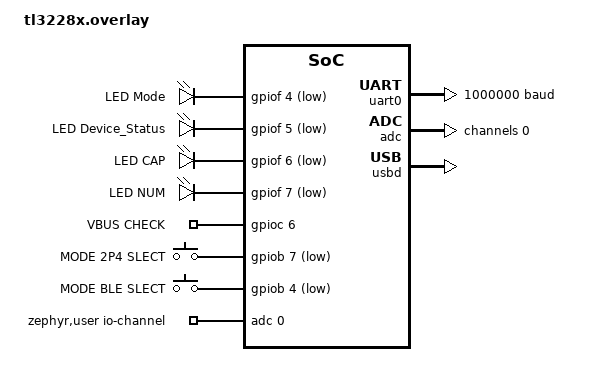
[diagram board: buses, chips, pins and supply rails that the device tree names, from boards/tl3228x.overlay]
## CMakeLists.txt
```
# SPDX-License-Identifier: Apache-2.0

cmake_minimum_required(VERSION 3.20.0)
find_package(Zephyr REQUIRED HINTS $ENV{ZEPHYR_BASE})
project(peripheral_magnetic_keyboard)

FILE(GLOB app_sources src/*.c)
target_sources(app PRIVATE ${app_sources})

if(CONFIG_BOARD_TL3228X_RRAM)
	zephyr_compile_definitions(
		-DMCU_STARTUP_NVM=1
        -DAPP_NVM_PROTECTION_ENABLE=1
	)
endif()
```

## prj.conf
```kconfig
# Increased stack due to settings API usage
CONFIG_SYSTEM_WORKQUEUE_STACK_SIZE=2048

CONFIG_BT=y
#CONFIG_BT_DEBUG_LOG=n
CONFIG_BT_SMP=y
CONFIG_BT_SMP_ALLOW_UNAUTH_OVERWRITE=y
CONFIG_BT_ID_ALLOW_UNAUTH_OVERWRITE=y
CONFIG_BT_MAX_PAIRED=4
CONFIG_BT_PERIPHERAL=y
CONFIG_BT_DIS=y
CONFIG_BT_BAS=y
CONFIG_BT_DEVICE_NAME="Test kb"
#CONFIG_BT_DEVICE_NAME_DYNAMIC=y
CONFIG_BT_HCI_CORE_LOG_LEVEL_DBG=n

CONFIG_BT_SETTINGS=y
CONFIG_FLASH=y
CONFIG_FLASH_PAGE_LAYOUT=y
CONFIG_FLASH_MAP=y
CONFIG_NVS=y
CONFIG_SETTINGS=y

CONFIG_GPIO=y

CONFIG_PM=y
CONFIG_PM_DEVICE=n
CONFIG_TELINK_TL322X_ENABLE_N22=y
CONFIG_SAMPLE_BT_USE_AUTHENTICATION=n
CONFIG_BT_ID_MAX=4
CONFIG_BT_MAX_CONN=4
CONFIG_BT_SETTINGS=y
CONFIG_BT_ID_UNPAIR_MATCHING_BONDS=y

CONFIG_BT_ID_FOR_KMD=y

# USB device support (new UDC stack)
CONFIG_USB_DEVICE_STACK_NEXT=y
CONFIG_USBD_HID_SUPPORT=y
CONFIG_UDC_TELINK_TLX_HIGH_SPEED=y

CONFIG_ENTROPY_GENERATOR=y
CONFIG_ENTROPY_DEVICE_RANDOM_GENERATOR=y

#CONFIG_RISCV_MTVEC_VECTORED_MODE=y
CONFIG_OUTPUT_DISASSEMBLY=y
CONFIG_OUTPUT_DISASSEMBLY_WITH_SOURCE=y

CONFIG_EXT_CRYPTO_HW_INIT=y

CONFIG_LOG=n
CONFIG_USBD_LOG_LEVEL_DBG=n
CONFIG_USBD_HID_LOG_LEVEL_DBG=n
CONFIG_UDC_DRIVER_LOG_LEVEL_DBG=n
CONFIG_USB_DRIVER_LOG_LEVEL_DBG=n
CONFIG_USB_DEVICE_LOG_LEVEL_DBG=n

CONFIG_FLASH=y
CONFIG_FLASH_PAGE_LAYOUT=y
CONFIG_NVS=y
CONFIG_REBOOT=y 

CONFIG_ADC=y
```

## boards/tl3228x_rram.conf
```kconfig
CONFIG_TELINK_TL322X_FETCH_N22_BIN=n
```

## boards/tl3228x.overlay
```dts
&cpu0 {
	clock-frequency = <192000000>;		/* USB0 digital voltage must be 1.1V and HCLK min's 48M */
	// clock-frequency = <96000000>;
};

&uart0 {
	status = "okay";
	pinctrl-0 = <&uart0_tx_pd4_default &uart0_rx_pd5_default>;
	current-speed = <1000000>;			/* Baud rate for serial port logging */
};

&ram_ilm {
	reg = <0x00000000 0x00020000>;
};

&ram_dlm {
	reg = <0x00080000 0x00010000>;
};

&n22_ram_ilm {
	reg = <0x50000000 0x00020000>;
};

&n22_ram_dlm {
	reg = <0x50080000 0x00010000>;
};


&gpioa {
       status = "okay";
};


/ {

	aliases {

		/delete-property/ led0;
		/delete-property/ led1;
		/delete-property/ led2;
		/delete-property/ led3;

		/delete-property/ mcuboot-button0;
		/delete-property/ mcuboot-led0;

		/delete-property/ sw0;
		/delete-property/ sw1;
		/delete-property/ sw2;
		/delete-property/ sw3;

		/delete-property/ pwm-led0;
		/delete-property/ pwm0;

		ledmode = &led_mode;
		leddevicestatus = &led_device_status;
		ledcap = &led_cap;
		lednum = &led_num;

		vbuscheck0 = &vbus_pin;
		mode2p4 = &mode_2p4_pin;
		modeble = &mode_ble_pin;

	};

	/delete-node/ leds;
	/delete-node/ pwm_leds;

	leds {
		compatible = "gpio-leds";

		led_mode: mode_io {
			gpios = <&gpiof 4 GPIO_ACTIVE_LOW>;
			label = "LED Mode";
		};

		led_device_status: device_status_io {
			gpios = <&gpiof 5 GPIO_ACTIVE_LOW>;
			label = "LED Device_Status";
		};

		led_cap: cap_io {
			gpios = <&gpiof 6 GPIO_ACTIVE_LOW>;
			label = "LED CAP";
		};

		led_num: num_io {
			gpios = <&gpiof 7 GPIO_ACTIVE_LOW>;
			label = "LED NUM";
		};
	};

	/delete-node/ keys;

	keys {
		compatible = "gpio-keys";

		vbus_pin: vbus_io {
			gpios = <&gpioc 6 (GPIO_ACTIVE_HIGH)>;
			label = "VBUS CHECK";
		};

		mode_2p4_pin: mode_2p4_io {
			gpios = <&gpiob 7 (GPIO_ACTIVE_LOW)>;
			label = "MODE 2P4 SLECT";
		};
		mode_ble_pin: mode_ble_io {
			gpios = <&gpiob 4 (GPIO_ACTIVE_LOW)>;
			label = "MODE BLE SLECT";
		};
	};

	/delete-node/ key_pool;
	/delete-node/ led_pool;
	/delete-node/ pwm_pool;

	zephyr,user {
		/* adjust channel number according to pinmux in board.dts */
		io-channels = <&adc 0>;
	};
};

&adc {
	#address-cells = <1>;
	#size-cells = <0>;

	channel@0 {
		reg = <0>;
		zephyr,gain = "ADC_GAIN_1";
		zephyr,reference = "ADC_REF_INTERNAL";
		zephyr,acquisition-time = <ADC_ACQ_TIME_DEFAULT>;
		zephyr,resolution = <12>;
		zephyr,input-positive = <DT_ADC_GPIO_PC0>;
	};
};

&adc {
	status = "okay";
	vref-internal-mv = <1200>;
	sample-freq = <DT_FREQ_K(96)>;
	pinctrl-0 = <&adc_pc0_default>;
	pinctrl-names = "default";
};

&flash {
	reg = <0x20000000 0x100000>;
	/delete-node/ partitions;

	partitions {
		compatible = "fixed-partitions";
		#address-cells = <1>;
		#size-cells = <1>;

		/*boot_partition: 32k*/
		boot_partition: partition@0 {
			label = "mcuboot";
			reg = <0x00000000 0x8000>;
		};
		/*D25F APP 1 partition: 256k*/
		slot0_partition: partition@8000 {
			label = "image-0";
			reg = <0x8000 0x40000>;
		};
		/*N22 APP 1 partition: 128k*/
		n22_1_partition: partition@48000 {
			label = "image-1";
			reg = <0x48000 0x20000>;
		};
		/*D25F APP 2 partition: 256k*/
		slot1_partition: partition@68000 {
			label = "image-2";
			reg = <0x68000 0x40000>;
		};
		/*N22 APP 2 partition: 128k*/
		n22_2_partition: partition@A8000 {
			label = "image-3";
			reg = <0xA8000 0x20000>;
		};

		user_app_partition: partition@C8000 {
			label = "app-storage";
			reg = <0xC8000 0x00002000>;
		};

		/*BLE SMP storage partition*/
		storage_partition: partition@CA000 {
			label = "storage";
			reg = <0xCA000 0x00002000>;
		};

		/* region <0xfe000 0x2000> is used for Telink TLx RF parameters */
		/* For 1M MCU - the partition address is 0xfe000 */
		/* For 2M MCU - the partition address is 0x1fe000 */
		/* For 4M MCU - the partition address is 0x3fe000 */
		/* For 16M MCU - the partition address is 0xffe000 */
		vendor_partition: partition@fe000 {
			label = "vendor-data";
			reg = <0xfe000 0x2000>;
		};
	};
};

&pinctrl {
	/* Set pad-mul-sel register value.
	 * Note: Pins functions below (pinmux = <...>) depend on this value.
	 */
	pad-mul-sel = <1>;

	/* UART0: TX(PA0), RX(PA1), RTS(PB4), CTS(PB6) */

	/delete-node/ uart0_tx_pa0_default;
	/delete-node/ uart0_rx_pa1_default;

	uart0_tx_pd4_default: uart0_tx_pd4_default {
		pinmux = <TLX_PINMUX_SET(TLX_PORT_D, TLX_PIN_4,
			(TL322X_FUNC_UART0_TX))>;
	};
	uart0_rx_pd5_default: uart0_rx_pd5_default {
		pinmux = <TLX_PINMUX_SET(TLX_PORT_D, TLX_PIN_5,
			(TL322X_FUNC_UART0_RTX_IO))>;
	};
};

&pwm0 {
	status = "disabled";
};

&gspi {
	status = "disabled";
};

&i2c {
	status = "disabled";
	clock-frequency = <I2C_BITRATE_FAST>;
	pinctrl-0 = <&i2c_scl_pe0_default &i2c_sda_pe1_default>;
	pinctrl-names = "default";
};

&adc {
	status = "okay";
	vref-internal-mv = <1200>;
	sample-freq = <DT_FREQ_K(96)>;
	pinctrl-0 = <&adc_pc0_default>;
	pinctrl-names = "default";
};

/* USB device support (new UDC stack) */
&usbd {
	status = "okay";
};

/ {
	/* HID_0: standard keyboard (8-byte input report + LED output report) */
	hid_dev_0: hid_dev_0 {
		compatible = "zephyr,hid-device";
		interface-name = "HID0";
		protocol-code = "keyboard";
		in-report-size = <8>;
		in-polling-period-us = <1000>;
		out-report-size = <1>;
		out-polling-period-us = <1000>;
	};

	/* HID_1: N-key keyboard (17-byte input report) */
	hid_dev_1: hid_dev_1 {
		compatible = "zephyr,hid-device";
		interface-name = "HID1";
		protocol-code = "none";
		in-report-size = <17>;
		in-polling-period-us = <1000>;
	};

	/* HID_2: vendor defined, 5-button mouse style (4-byte input report) */
	hid_dev_2: hid_dev_2 {
		compatible = "zephyr,hid-device";
		interface-name = "HID2";
		protocol-code = "none";
		in-report-size = <4>;
		in-polling-period-us = <1000>;
	};
};
```

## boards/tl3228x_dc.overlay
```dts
&cpu0 {
	clock-frequency = <192000000>;		/* USB0 digital voltage must be 1.1V and HCLK min's 48M */
	// clock-frequency = <96000000>;
};

&uart0 {
	status = "okay";
	pinctrl-0 = <&uart0_tx_pd4_default &uart0_rx_pd5_default>;
	current-speed = <1000000>;			/* Baud rate for serial port logging */
};

&ram_ilm {
	reg = <0x00000000 0x00020000>;
};

&ram_dlm {
	reg = <0x00080000 0x00010000>;
};


&gpioa {
       status = "okay";
};


/ {

	aliases {

		/delete-property/ led0;
		/delete-property/ led1;
		/delete-property/ led2;
		/delete-property/ led3;

		/delete-property/ mcuboot-button0;
		/delete-property/ mcuboot-led0;

		/delete-property/ sw0;
		/delete-property/ sw1;
		/delete-property/ sw2;
		/delete-property/ sw3;

		/delete-property/ pwm-led0;
		/delete-property/ pwm0;

		ledmode = &led_mode;
		leddevicestatus = &led_device_status;
		ledcap = &led_cap;
		lednum = &led_num;

		vbuscheck0 = &vbus_pin;
		mode2p4 = &mode_2p4_pin;
		modeble = &mode_ble_pin;

	};

	/delete-node/ leds;
	/delete-node/ pwm_leds;

	leds {
		compatible = "gpio-leds";

		led_mode: mode_io {
			gpios = <&gpiof 4 GPIO_ACTIVE_LOW>;
			label = "LED Mode";
		};

		led_device_status: device_status_io {
			gpios = <&gpiof 5 GPIO_ACTIVE_LOW>;
			label = "LED Device_Status";
		};

		led_cap: cap_io {
			gpios = <&gpiof 6 GPIO_ACTIVE_LOW>;
			label = "LED CAP";
		};

		led_num: num_io {
			gpios = <&gpiof 7 GPIO_ACTIVE_LOW>;
			label = "LED NUM";
		};
	};

	/delete-node/ keys;

	keys {
		compatible = "gpio-keys";

		vbus_pin: vbus_io {
			gpios = <&gpioc 6 (GPIO_ACTIVE_HIGH)>;
			label = "VBUS CHECK";
		};

		mode_2p4_pin: mode_2p4_io {
			gpios = <&gpiob 7 (GPIO_ACTIVE_LOW)>;
			label = "MODE 2P4 SLECT";
		};
		mode_ble_pin: mode_ble_io {
			gpios = <&gpiob 4 (GPIO_ACTIVE_LOW)>;
			label = "MODE BLE SLECT";
		};
	};

	/delete-node/ key_pool;
	/delete-node/ led_pool;
	/delete-node/ pwm_pool;

	zephyr,user {
		/* adjust channel number according to pinmux in board.dts */
		io-channels = <&adc 0>;
	};
};

&adc {
	#address-cells = <1>;
	#size-cells = <0>;

	channel@0 {
		reg = <0>;
		zephyr,gain = "ADC_GAIN_1";
		zephyr,reference = "ADC_REF_INTERNAL";
		zephyr,acquisition-time = <ADC_ACQ_TIME_DEFAULT>;
		zephyr,resolution = <12>;
		zephyr,input-positive = <DT_ADC_GPIO_PC0>;
	};
};

&adc {
	status = "okay";
	vref-internal-mv = <1200>;
	sample-freq = <DT_FREQ_K(96)>;
	pinctrl-0 = <&adc_pc0_default>;
	pinctrl-names = "default";
};

&flash {
	reg = <0x20000000 0x100000>;
	/delete-node/ partitions;

	partitions {
		compatible = "fixed-partitions";
		#address-cells = <1>;
		#size-cells = <1>;

		/*boot_partition: 32k*/
		boot_partition: partition@0 {
			label = "mcuboot";
			reg = <0x00000000 0x8000>;
		};
		/*D25F APP 1 partition: 256k*/
		slot0_partition: partition@8000 {
			label = "image-0";
			reg = <0x8000 0x40000>;
		};
		/*N22 APP 1 partition: 128k*/
		n22_1_partition: partition@48000 {
			label = "image-1";
			reg = <0x48000 0x20000>;
		};
		/*D25F APP 2 partition: 256k*/
		slot1_partition: partition@68000 {
			label = "image-2";
			reg = <0x68000 0x40000>;
		};
		/*N22 APP 2 partition: 128k*/
		n22_2_partition: partition@A8000 {
			label = "image-3";
			reg = <0xA8000 0x20000>;
		};

		user_app_partition: partition@C8000 {
			label = "app-storage";
			reg = <0xC8000 0x00002000>;
		};

		/*BLE SMP storage partition*/
		storage_partition: partition@CA000 {
			label = "storage";
			reg = <0xCA000 0x00002000>;
		};

		/* region <0xfe000 0x2000> is used for Telink TLx RF parameters */
		/* For 1M MCU - the partition address is 0xfe000 */
		/* For 2M MCU - the partition address is 0x1fe000 */
		/* For 4M MCU - the partition address is 0x3fe000 */
		/* For 16M MCU - the partition address is 0xffe000 */
		vendor_partition: partition@fe000 {
			label = "vendor-data";
			reg = <0xfe000 0x2000>;
		};
	};
};

&pinctrl {
	/* Set pad-mul-sel register value.
	 * Note: Pins functions below (pinmux = <...>) depend on this value.
	 */
	pad-mul-sel = <1>;

	/* UART0: TX(PA0), RX(PA1), RTS(PB4), CTS(PB6) */

	/delete-node/ uart0_tx_pa0_default;
	/delete-node/ uart0_rx_pa1_default;

	uart0_tx_pd4_default: uart0_tx_pd4_default {
		pinmux = <TLX_PINMUX_SET(TLX_PORT_D, TLX_PIN_4,
			(TL322X_FUNC_UART0_TX))>;
	};
	uart0_rx_pd5_default: uart0_rx_pd5_default {
		pinmux = <TLX_PINMUX_SET(TLX_PORT_D, TLX_PIN_5,
			(TL322X_FUNC_UART0_RTX_IO))>;
	};
};

&pwm0 {
	status = "disabled";
};

&gspi {
	status = "disabled";
};

&i2c {
	status = "disabled";
	clock-frequency = <I2C_BITRATE_FAST>;
	pinctrl-0 = <&i2c_scl_pe0_default &i2c_sda_pe1_default>;
	pinctrl-names = "default";
};

&adc {
	status = "okay";
	vref-internal-mv = <1200>;
	sample-freq = <DT_FREQ_K(96)>;
	pinctrl-0 = <&adc_pc0_default>;
	pinctrl-names = "default";
};

/* USB device support (new UDC stack) */
&usbd {
	status = "okay";
};

/ {
	/* HID_0: standard keyboard (8-byte input report + LED output report) */
	hid_dev_0: hid_dev_0 {
		compatible = "zephyr,hid-device";
		interface-name = "HID0";
		protocol-code = "keyboard";
		in-report-size = <8>;
		in-polling-period-us = <1000>;
		out-report-size = <1>;
		out-polling-period-us = <1000>;
	};

	/* HID_1: N-key keyboard (17-byte input report) */
	hid_dev_1: hid_dev_1 {
		compatible = "zephyr,hid-device";
		interface-name = "HID1";
		protocol-code = "none";
		in-report-size = <17>;
		in-polling-period-us = <1000>;
	};

	/* HID_2: vendor defined, 5-button mouse style (4-byte input report) */
	hid_dev_2: hid_dev_2 {
		compatible = "zephyr,hid-device";
		interface-name = "HID2";
		protocol-code = "none";
		in-report-size = <4>;
		in-polling-period-us = <1000>;
	};
};
```

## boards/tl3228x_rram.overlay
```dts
&cpu0 {
	clock-frequency = <192000000>;		/* USB0 digital voltage must be 1.1V and HCLK min's 48M */
	// clock-frequency = <96000000>;
};

&uart0 {
	status = "okay";
	pinctrl-0 = <&uart0_tx_pd4_default &uart0_rx_pd5_default>;
	current-speed = <1000000>;			/* Baud rate for serial port logging */
};

&ram_ilm {
	reg = <0x00000000 0x00020000>;
};

&ram_dlm {
	reg = <0x00080000 0x00010000>;
};

&n22_ram_ilm {
	reg = <0x50000000 0x00020000>;
};

&n22_ram_dlm {
	reg = <0x50080000 0x00010000>;
};


&gpioa {
       status = "okay";
};


/ {

	aliases {

		/delete-property/ led0;
		/delete-property/ led1;
		/delete-property/ led2;
		/delete-property/ led3;

		/delete-property/ mcuboot-button0;
		/delete-property/ mcuboot-led0;

		/delete-property/ sw0;
		/delete-property/ sw1;
		/delete-property/ sw2;
		/delete-property/ sw3;

		/delete-property/ pwm-led0;
		/delete-property/ pwm0;

		ledmode = &led_mode;
		leddevicestatus = &led_device_status;
		ledcap = &led_cap;
		lednum = &led_num;

		vbuscheck0 = &vbus_pin;
		mode2p4 = &mode_2p4_pin;
		modeble = &mode_ble_pin;

	};

	/delete-node/ leds;
	/delete-node/ pwm_leds;

	leds {
		compatible = "gpio-leds";

		led_mode: mode_io {
			gpios = <&gpiof 4 GPIO_ACTIVE_LOW>;
			label = "LED Mode";
		};

		led_device_status: device_status_io {
			gpios = <&gpiof 5 GPIO_ACTIVE_LOW>;
			label = "LED Device_Status";
		};

		led_cap: cap_io {
			gpios = <&gpiof 6 GPIO_ACTIVE_LOW>;
			label = "LED CAP";
		};

		led_num: num_io {
			gpios = <&gpiof 7 GPIO_ACTIVE_LOW>;
			label = "LED NUM";
		};
	};

	/delete-node/ keys;

	keys {
		compatible = "gpio-keys";

		vbus_pin: vbus_io {
			gpios = <&gpioc 6 (GPIO_ACTIVE_HIGH)>;
			label = "VBUS CHECK";
		};

		mode_2p4_pin: mode_2p4_io {
			gpios = <&gpiob 7 (GPIO_ACTIVE_LOW)>;
			label = "MODE 2P4 SLECT";
		};
		mode_ble_pin: mode_ble_io {
			gpios = <&gpiob 4 (GPIO_ACTIVE_LOW)>;
			label = "MODE BLE SLECT";
		};
	};

	/delete-node/ key_pool;
	/delete-node/ led_pool;
	/delete-node/ pwm_pool;

	zephyr,user {
		/* adjust channel number according to pinmux in board.dts */
		io-channels = <&adc 0>;
	};
};

&adc {
	#address-cells = <1>;
	#size-cells = <0>;

	channel@0 {
		reg = <0>;
		zephyr,gain = "ADC_GAIN_1";
		zephyr,reference = "ADC_REF_INTERNAL";
		zephyr,acquisition-time = <ADC_ACQ_TIME_DEFAULT>;
		zephyr,resolution = <12>;
		zephyr,input-positive = <DT_ADC_GPIO_PC0>;
	};
};

&adc {
	status = "okay";
	vref-internal-mv = <1200>;
	sample-freq = <DT_FREQ_K(96)>;
	pinctrl-0 = <&adc_pc0_default>;
	pinctrl-names = "default";
};

/*
 * RRAM partition layout (512KB total):
 *   boot_partition:    0x00000 - 0x07FFF  (32KB)  MCUBoot
 *   slot0_partition:   0x08000 - 0x47FFF  (256KB) D25F application (code)
 *   n22_partition:     0x48000 - 0x67FFF  (128KB) N22 firmware image
 *   user_app_partition:0x68000 - 0x77FFF  (64KB)  NVS user data
 *   storage_partition: 0x78000 - 0x79FFF  (8KB)   BLE settings (bonding info)
 *   vendor_partition:  0x7E000 - 0x7FFFF  (8KB)   Telink RF calibration data
 *
 * External SPI flash is available for OTA bulk storage (no DT partitions).
 */
&rram {
	reg = <0x00400000 0x00080000>;
	/delete-node/ partitions;

	partitions {
		compatible = "fixed-partitions";
		#address-cells = <1>;
		#size-cells = <1>;

		/* MCUBoot */
		boot_partition: partition@0 {
			label = "mcuboot";
			reg = <0x00000000 0x8000>;
		};
		/* D25F application image */
		slot0_partition: partition@8000 {
			label = "image-0";
			reg = <0x8000 0x40000>;
		};
		/* N22 firmware image */
		n22_partition: partition@48000 {
			label = "n22-image";
			reg = <0x48000 0x20000>;
		};
		/* NVS user application data */
		user_app_partition: partition@68000 {
			label = "app-storage";
			reg = <0x68000 0x10000>;
		};
		/* BLE settings / bonding info */
		storage_partition: partition@78000 {
			label = "storage";
			reg = <0x78000 0x2000>;
		};
		/* Telink RF calibration parameters */
		vendor_partition: partition@7e000 {
			label = "vendor-data";
			reg = <0x7e000 0x2000>;
		};
	};
};

/*
 * External SPI flash: not used for code or NVS in this build.
 * Keep it available as a raw block device for OTA storage.
 */
&flash {
	/delete-node/ partitions;
};

/*
 * Override chosen: point code-partition to the overlay's slot0 on &rram.
 * The board dts already sets zephyr,flash = &rram.
 */
/ {
	chosen {
		zephyr,code-partition = &slot0_partition;
	};
};

&pinctrl {
	/* Set pad-mul-sel register value.
	 * Note: Pins functions below (pinmux = <...>) depend on this value.
	 */
	pad-mul-sel = <1>;

	/* UART0: TX(PA0), RX(PA1), RTS(PB4), CTS(PB6) */

	/delete-node/ uart0_tx_pa0_default;
	/delete-node/ uart0_rx_pa1_default;

	uart0_tx_pd4_default: uart0_tx_pd4_default {
		pinmux = <TLX_PINMUX_SET(TLX_PORT_D, TLX_PIN_4,
			(TL322X_FUNC_UART0_TX))>;
	};
	uart0_rx_pd5_default: uart0_rx_pd5_default {
		pinmux = <TLX_PINMUX_SET(TLX_PORT_D, TLX_PIN_5,
			(TL322X_FUNC_UART0_RTX_IO))>;
	};
};

&pwm0 {
	status = "disabled";
};

&gspi {
	status = "disabled";
};

&i2c {
	status = "disabled";
	clock-frequency = <I2C_BITRATE_FAST>;
	pinctrl-0 = <&i2c_scl_pe0_default &i2c_sda_pe1_default>;
	pinctrl-names = "default";
};

&adc {
	status = "okay";
	vref-internal-mv = <1200>;
	sample-freq = <DT_FREQ_K(96)>;
	pinctrl-0 = <&adc_pc0_default>;
	pinctrl-names = "default";
};

/* USB device support (new UDC stack) */
&usbd {
	status = "okay";
};

/ {
	/* HID_0: standard keyboard (8-byte input report + LED output report) */
	hid_dev_0: hid_dev_0 {
		compatible = "zephyr,hid-device";
		interface-name = "HID0";
		protocol-code = "keyboard";
		in-report-size = <8>;
		in-polling-period-us = <1000>;
		out-report-size = <1>;
		out-polling-period-us = <1000>;
	};

	/* HID_1: N-key keyboard (17-byte input report) */
	hid_dev_1: hid_dev_1 {
		compatible = "zephyr,hid-device";
		interface-name = "HID1";
		protocol-code = "none";
		in-report-size = <17>;
		in-polling-period-us = <1000>;
	};

	/* HID_2: vendor defined, 5-button mouse style (4-byte input report) */
	hid_dev_2: hid_dev_2 {
		compatible = "zephyr,hid-device";
		interface-name = "HID2";
		protocol-code = "none";
		in-report-size = <4>;
		in-polling-period-us = <1000>;
	};
};
```

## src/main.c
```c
/* main.c - Application main entry point */

/*
 * Copyright (c) 2025 Telink Semiconductor
 *
 * SPDX-License-Identifier: Apache-2.0
 */

#include <zephyr/types.h>
#include <stddef.h>
#include <string.h>
#include <errno.h>
#include <zephyr/sys/printk.h>
#include <zephyr/sys/byteorder.h>
#include <zephyr/kernel.h>

#include <zephyr/settings/settings.h>

#include <zephyr/bluetooth/bluetooth.h>
#include <zephyr/bluetooth/hci.h>
#include <zephyr/bluetooth/conn.h>
#include <zephyr/bluetooth/uuid.h>
#include <zephyr/bluetooth/gatt.h>

#include "app_public.h"
#include "driver.h"

#define LOG_LEVEL LOG_LEVEL_DBG
#include <zephyr/logging/log.h>
LOG_MODULE_REGISTER(main);

/*
 * Override the weak SOC hook to configure the LPC + PEM + DMA based flash
 * protection used when running at CLK_192MHZ on TL322X.
 */
void tl322x_pem_flash_prot_config(void)
{
	lpc_pem_flash_prot_config(LPC_INPUT_PB5, PEM0, DMA7);
}

int main(void)
{
	keyboard_comm_init();

	gpio_function_en(GPIO_PD5 | GPIO_PD6 | GPIO_PD7);
	gpio_output_en(GPIO_PD5 | GPIO_PD6 | GPIO_PD7);
	gpio_input_dis(GPIO_PD5 | GPIO_PD6 | GPIO_PD7);


    gpio_function_en(GPIO_PA1 | GPIO_PA2);
    gpio_output_en(GPIO_PA1 | GPIO_PA2);
    gpio_input_dis(GPIO_PA1 | GPIO_PA2);


	while(1) {
		public_loop();
		k_sleep(K_MSEC(3));
	}

	return 0;
}
```

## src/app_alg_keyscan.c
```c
/** @file app_alg_keyscan.c
 *  @brief
 */

/*
 * Copyright (c) 2025 Telink Semiconductor
 *
 * SPDX-License-Identifier: Apache-2.0
 */

#include <zephyr/types.h>
#include <stddef.h>
#include <string.h>
#include <errno.h>
#include <zephyr/sys/printk.h>
#include <zephyr/sys/byteorder.h>
#include <zephyr/kernel.h>

#include <zephyr/settings/settings.h>

#include "app_public.h"
#include "pwm.h"
#include "app_alg_keyscan.h"

#define LOG_LEVEL LOG_LEVEL_DBG
#include <zephyr/logging/log.h>
LOG_MODULE_REGISTER(app_alg_keyscan);


#if ALG_KEYSCAN_APP_FUN_ENABLE

#define BUFFER_SIZE (256) //the minimum buffer size (unit:byte), adc data format 16bits

#define  KEYSCAN_CYCLE_US       44

#define KEYSCAN_ADC_BUFFER_SIZE (BUFFER_SIZE / 2)
short adc_buffer[KEYSCAN_ADC_BUFFER_SIZE] = {0};
static bool g_keyscan_enable = false;

/* update threshold according to the real hall value */
ks_ana_threshold_t ks_ana_threshold = {
    .release_threshold = 1200,       //1F2
    .press_threshold = 1000
    // .release_threshold = 850,       //1F2
    // .press_threshold = 780
};

/* update gpio pin according to the hardware design */
ks_ana_gpio_pin_t ks_ana_gpio_pin = {
    .pin_group_id = KS_PIN_GROUP_ID_0,
    .ana_switch_enable_pin = GPIO_PF3,
    // .ana_switch_channel_pin = {GPIO_PE3, GPIO_PE4, GPIO_PE5, GPIO_PE6}
    // .ana_switch_channel_pin = {GPIO_PC7, GPIO_PD0, GPIO_PD1, GPIO_PD2},
};

_attribute_ram_code_sec_ void alg_keyscan_init(ks_ana_clock_e ks_ana_clock)
{
    gpio_function_en(GPIO_PE3); //short press KEY3 to generate an edge signal.
    gpio_output_en(GPIO_PE3);
    gpio_input_dis(GPIO_PE3);
    gpio_function_en(GPIO_PE4); //short press KEY3 to generate an edge signal.
    gpio_output_en(GPIO_PE4);
    gpio_input_dis(GPIO_PE4);
    gpio_function_en(GPIO_PE5); //short press KEY3 to generate an edge signal.
    gpio_output_en(GPIO_PE5);
    gpio_input_dis(GPIO_PE5);
    gpio_function_en(GPIO_PE6); //short press KEY3 to generate an edge signal.
    gpio_output_en(GPIO_PE6);
    gpio_input_dis(GPIO_PE6);
    gpio_set_level((gpio_pin_e)GPIO_FC_PE3,1);
    gpio_set_level((gpio_pin_e)GPIO_FC_PE4,1);
    gpio_set_level((gpio_pin_e)GPIO_FC_PE5,1);
    gpio_set_level((gpio_pin_e)GPIO_FC_PE6,1);

    if (ks_ana_clock == KEYSCAN_PWM_CLOCK_96M)
    {
        pwm_set_clk((unsigned char)(sys_clk.pclk * 1000 * 1000 / PWM_PCLK_96M - 1));

        #if (KEYSCAN_CYCLE_US == 44)
        pwm_set_tcmp(PWM0_ID, 11*(CLOCK_PWM_96M_CLOCK_1US / 4));//2.75
        pwm_set_tmax(PWM0_ID, 11*(CLOCK_PWM_96M_CLOCK_1US / 4)*2 + 1);

        pwm_set_tcmp(PWM1_ID, 11*(CLOCK_PWM_96M_CLOCK_1US / 4)*2 + 1);
        pwm_set_tmax(PWM1_ID, 11*(CLOCK_PWM_96M_CLOCK_1US / 4)*4 + 2);

        pwm_set_tcmp(PWM2_ID, 11*(CLOCK_PWM_96M_CLOCK_1US / 4)*4 + 2);
        pwm_set_tmax(PWM2_ID, 11*(CLOCK_PWM_96M_CLOCK_1US / 4)*8 + 4);

        pwm_set_tcmp(PWM3_ID, 11*(CLOCK_PWM_96M_CLOCK_1US / 4)*8 + 4);
        pwm_set_tmax(PWM3_ID, 11*(CLOCK_PWM_96M_CLOCK_1US / 4)*16 + 8);
        #elif (KEYSCAN_CYCLE_US == 88)
        pwm_set_tcmp(PWM0_ID, 22*(CLOCK_PWM_96M_CLOCK_1US / 4));//5.5
        pwm_set_tmax(PWM0_ID, 22*(CLOCK_PWM_96M_CLOCK_1US / 4)*2 + 1);

        pwm_set_tcmp(PWM1_ID, 22*(CLOCK_PWM_96M_CLOCK_1US / 4)*2 + 1);
        pwm_set_tmax(PWM1_ID, 22*(CLOCK_PWM_96M_CLOCK_1US / 4)*4 + 2);

        pwm_set_tcmp(PWM2_ID, 22*(CLOCK_PWM_96M_CLOCK_1US / 4)*4 + 2);
        pwm_set_tmax(PWM2_ID, 22*(CLOCK_PWM_96M_CLOCK_1US / 4)*8 + 4);

        pwm_set_tcmp(PWM3_ID, 22*(CLOCK_PWM_96M_CLOCK_1US / 4)*8 + 4);
        pwm_set_tmax(PWM3_ID, 22*(CLOCK_PWM_96M_CLOCK_1US / 4)*16 + 8);
        #endif
    }
    else if (ks_ana_clock == KEYSCAN_PWM_CLOCK_32M)
    {
        pwm_set_clk((unsigned char)(sys_clk.pclk * 1000 * 1000 / PWM_PCLK_32M - 1));

        #if (KEYSCAN_CYCLE_US == 44)
        pwm_set_tcmp(PWM0_ID, 11*(CLOCK_PWM_32M_CLOCK_1US / 4));//2.75
        pwm_set_tmax(PWM0_ID, 11*(CLOCK_PWM_32M_CLOCK_1US / 4)*2 + 1);

        pwm_set_tcmp(PWM1_ID, 11*(CLOCK_PWM_32M_CLOCK_1US / 4)*2 + 1);
        pwm_set_tmax(PWM1_ID, 11*(CLOCK_PWM_32M_CLOCK_1US / 4)*4 + 2);

        pwm_set_tcmp(PWM2_ID, 11*(CLOCK_PWM_32M_CLOCK_1US / 4)*4 + 2);
        pwm_set_tmax(PWM2_ID, 11*(CLOCK_PWM_32M_CLOCK_1US / 4)*8 + 4);

        pwm_set_tcmp(PWM3_ID, 11*(CLOCK_PWM_32M_CLOCK_1US / 4)*8 + 4);
        pwm_set_tmax(PWM3_ID, 11*(CLOCK_PWM_32M_CLOCK_1US / 4)*16 + 8);
        #elif (KEYSCAN_CYCLE_US == 88)
        pwm_set_tcmp(PWM0_ID, 22*(CLOCK_PWM_32M_CLOCK_1US / 4));//5.5
        pwm_set_tmax(PWM0_ID, 22*(CLOCK_PWM_32M_CLOCK_1US / 4)*2 + 1);

        pwm_set_tcmp(PWM1_ID, 22*(CLOCK_PWM_32M_CLOCK_1US / 4)*2 + 1);
        pwm_set_tmax(PWM1_ID, 22*(CLOCK_PWM_32M_CLOCK_1US / 4)*4 + 2);

        pwm_set_tcmp(PWM2_ID, 22*(CLOCK_PWM_32M_CLOCK_1US / 4)*4 + 2);
        pwm_set_tmax(PWM2_ID, 22*(CLOCK_PWM_32M_CLOCK_1US / 4)*8 + 4);

        pwm_set_tcmp(PWM3_ID, 22*(CLOCK_PWM_32M_CLOCK_1US / 4)*8 + 4);
        pwm_set_tmax(PWM3_ID, 22*(CLOCK_PWM_32M_CLOCK_1US / 4)*16 + 8);
        #endif
    }

    pwm_invert_en(PWM0_ID);
    pwm_invert_en(PWM1_ID);
    pwm_invert_en(PWM2_ID);
    pwm_invert_en(PWM3_ID);

    pwm_set_polarity_en(PWM0_ID);
    pwm_set_polarity_en(PWM1_ID);
    pwm_set_polarity_en(PWM2_ID);
    pwm_set_polarity_en(PWM3_ID);

    pwm_set_pin(GPIO_FC_PE3, PWM0);
    pwm_set_pin(GPIO_FC_PE4, PWM1);
    pwm_set_pin(GPIO_FC_PE5, PWM2);
    pwm_set_pin(GPIO_FC_PE6, PWM3);

    ks_ana_rx_dma_chain_init(ADC0, KS_ANA_ADC0_DMA_CHN, (unsigned short*)adc_buffer, KEYSCAN_ADC_BUFFER_SIZE);
    ks_ana_rx_dma_chain_init(ADC1, KS_ANA_ADC1_DMA_CHN, (unsigned short*)(adc_buffer + KEYSCAN_ADC_BUFFER_SIZE / 2), KEYSCAN_ADC_BUFFER_SIZE);
    ks_ana_init(ks_ana_gpio_pin, KS_TEST_MODE, ks_ana_clock, ks_ana_threshold);
    g_keyscan_enable = true;
}

_attribute_ram_code_sec_ void ks_pwm_mode_disable(void)
{
    if (g_keyscan_enable) {
        pwm_stop(FLD_PWM0_EN|FLD_PWM1_EN|FLD_PWM2_EN|FLD_PWM3_EN);
        dma_chn_dis(KS_ANA_ADC0_DMA_CHN);
        dma_chn_dis(KS_ANA_ADC1_DMA_CHN);
        ks_ana_disable();
        gpio_set_high_level(ks_ana_gpio_pin.ana_switch_enable_pin);//high level enable

        g_keyscan_enable = false;
    }
}

_attribute_ram_code_sec_ void ks_pwm_mode_enable(void)
{
    if (!g_keyscan_enable) {
        gpio_set_low_level(ks_ana_gpio_pin.ana_switch_enable_pin);//low level disable
        ks_ana_clr_irq_status(FLD_KS_FRM_END_STA | FLD_KS_FRM_END1_STA);
        ks_ana_enable();
        ks_ana_rx_dma_chain_init(ADC0, KS_ANA_ADC0_DMA_CHN, (unsigned short*)adc_buffer, KEYSCAN_ADC_BUFFER_SIZE);
        ks_ana_rx_dma_chain_init(ADC1, KS_ANA_ADC1_DMA_CHN, (unsigned short*)(adc_buffer + KEYSCAN_ADC_BUFFER_SIZE / 2), KEYSCAN_ADC_BUFFER_SIZE);
        reg_ks_a_en1 |= FLD_KS_A_EN;//keyscan enable
        reg_pwm_enable |= 0x100000e;//(FLD_PWM0_EN|FLD_PWM1_EN|FLD_PWM2_EN|FLD_PWM3_EN)

        g_keyscan_enable = true;
    }
}

#endif
```

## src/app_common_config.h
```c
/********************************************************************************************************
 * @file    app_common_config.h
 *
 * @brief   This is the header file for BLE SDK
 *
 * @author  BLE GROUP
 * @date    2026
 *
 * @par     Copyright (c) 2026, Telink Semiconductor (Shanghai) Co., Ltd. ("TELINK")
 *
 *          Licensed under the Apache License, Version 2.0 (the "License");
 *          you may not use this file except in compliance with the License.
 *          You may obtain a copy of the License at
 *
 *              http://www.apache.org/licenses/LICENSE-2.0
 *
 *          Unless required by applicable law or agreed to in writing, software
 *          distributed under the License is distributed on an "AS IS" BASIS,
 *          WITHOUT WARRANTIES OR CONDITIONS OF ANY KIND, either express or implied.
 *          See the License for the specific language governing permissions and
 *          limitations under the License.
 *
 *******************************************************************************************************/
#include <zephyr/sys/util.h>

///////////////////////// flash address Configuration////////////////////////////////////////////////
#define P24G_OTHER_INF_FLASH_ADDR_1M  0xFE000    //4K
#define P24G_PAIR_INF_FLASH_ADDR_1M   0xFD000    //4K
#define BLE_APP_PIPE_FLASH_ADDR_1M    0xFC000    //4K
#define BLE_APP_SMP_FLASH_ADDR_1M     0xFB000    //4K
#define BLE_STACK_SMP_FLASH_ADDR_1M   0xF7000    //16K 0xF7000~0xFAFFF

#define P24G_OTHER_INF_FLASH_ADDR_2M  0x1FE000    //4K
#define P24G_PAIR_INF_FLASH_ADDR_2M   0x1FD000    //4K
#define BLE_APP_PIPE_FLASH_ADDR_2M    0x1FC000    //4K
#define BLE_APP_SMP_FLASH_ADDR_2M     0x1FB000    //4K
#define BLE_STACK_SMP_FLASH_ADDR_2M   0x1F7000    //16K 0x3F7000~0x3FAFFF


#define P24G_OTHER_INF_FLASH_ADDR_4M  0x3FE000    //4K
#define P24G_PAIR_INF_FLASH_ADDR_4M   0x3FD000    //4K
#define BLE_APP_PIPE_FLASH_ADDR_4M    0x3FC000    //4K
#define BLE_APP_SMP_FLASH_ADDR_4M     0x3FB000    //4K
#define BLE_STACK_SMP_FLASH_ADDR_4M   0x3F7000    //16K 0x3F7000~0x3FAFFF


/////////////////////////////////////////////////////////////////////////

#define TLK_ERR_BASE_NUM                                    (0x0)    /**< Global error base */

#define TLK_SUCCESS                                         (TLK_ERR_BASE_NUM + 0)    /**< Successful command */
#define TLK_ERR_NULL                                        (TLK_ERR_BASE_NUM + 1)    /**< Null pointer */
#define TLK_ERR_INVALID_PARAM                               (TLK_ERR_BASE_NUM + 2)    /**< Invalid parameter */
#define TLK_ERR_BUSY                                        (TLK_ERR_BASE_NUM + 3)    /**< Device or resourse Busy */
#define TLK_ERR_INVALID_STATE                               (TLK_ERR_BASE_NUM + 4)    /**< Invalid state, operation disallowed in this state */
#define TLK_ERR_BUFFER_EMPTY                                (TLK_ERR_BASE_NUM + 5)    /**< Buffer/FIFO is empty */
#define TLK_ERR_NO_MEM                                      (TLK_ERR_BASE_NUM + 6)    /**< No memory available for operation */
#define TLK_ERR_INVALID_LENGTH                              (TLK_ERR_BASE_NUM + 7)    /**< Invalid length */
#define TLK_ERR_TIMEOUT                                     (TLK_ERR_BASE_NUM + 8)    /**< Operation timed out */
#define TLK_ERR_INTERNAL                                    (TLK_ERR_BASE_NUM + 9)    /**< Internal error */
#define TLK_ERR_DEV_NOT_FOUND                               (TLK_ERR_BASE_NUM + 10)   /**< Destination device not found */
#define TLK_ERR_CMD_NOT_SUPPORT                             (TLK_ERR_BASE_NUM + 11)   /**< cmd not supported */
#define TLK_ERR_BUFFER_FULL                                 (TLK_ERR_BASE_NUM + 12)   /**< Buffer/FIFO is full */

/////////////////////////////////////////////////////////////////////////

#define SPP_TX_FIFO_SIZE_KB         (64 + 12)

#define MAC_ADDR_LEN                6 //MAC address length

typedef enum {
    KB_MODE_2P4G                        =   0,
    KB_MODE_BLE                         =   1,
    KB_MODE_USB                         =   2,
} kb_mode_t;

#define APP_PC_STATUS_TYPE                  0x00U
#define APP_LED_STATUS_TYPE                 0x01U

typedef enum
{
    CMD_PAIR_REQ                        = 0X10,
    CMD_PAIR_RSP                        = 0X11,
    CMD_CONN_REQ                        = 0X12,
    CMD_CONN_RSP                        = 0X13,
    CMD_CONN_DAT                        = 0X14,
    CMD_DETACH                          = 0X15,
    CMD_REJOIN                          = 0X16,
    CMD_POLL                            = 0X17,

    CMD_RECONN_REQ                      = 0X18,
    CMD_RECONN_RSP                      = 0X19,

    TPSLL_MS_DATA                       = 0x50,
    TPSLL_LL_CMD                        = 0x51,
    TPSLL_SPP_DATA                      = 0x52,
    TPSLL_LL_NULL                       = 0x53,

} tpsll_cmd_e;

typedef enum
{
    STATE_POWERON                       = 0,
    STATE_PAIRING,
    STATE_RECONNECT,
    STATE_NORMAL,
    STATE_CONNECTED,
    STATE_DISCONNECTED,
    STATE_IDLE,
    STATE_NONE,

} tpsll_dev_status_e;


typedef enum
{
    STATE_PAIR_NONE                     = 0,
    STATE_PAIR_INIT,
    STATE_PAIR_RSP,
    STATE_PAIR_CFM,
    STATE_REJOIN,
} tpsll_pair_status_e;

typedef enum {

    P24G_SM_CMD_PAIRING                 =   0x00,
    P24G_SM_CMD_LL_CONTROL,
    P24G_SM_CMD_MOUSE_DRAW,
    P24G_SM_CMD_SET_STATE,
    P24G_SM_CMD_SAVE_PAIR_INFO,
    P24G_SM_CMD_SET_KB_MODE,
    P24G_SM_CMD_DATA_TYPE_SPP,
    P24G_SM_CMD_SPP_SEND_COMP,
    P24G_SM_CMD_MISC,
    P24G_SM_CMD_REPORT_RATE_CHANGE,
    P24G_SM_CMD_MAX,
    P24G_SM_CMD_NONE                    =   0xFF,

} p24g_sm_cmd_e;
 
typedef enum {
    P24G_SM_OP_NONE                     =   0x00,
    P24G_SM_OP_TERMINATE_CONN           =   0x51,
    P24G_SM_OP_ENTER_RF_IDLE            =   0x52,
    P24G_SM_OP_MISC_TRANS_MAC           =   0x53,
    P24G_SM_OP_MISC_PEER_INFO           =   0x54,
    P24G_SM_OP_ENABLE_RECONN            =   0x55,
    P24G_SM_OP_MISC_STOP_STIMER         =   0x56,
    P24G_SM_OP_MISC_REPORT_RATE         =   0x57,
    P24G_SM_OP_MISC_SAVE_REPORT_RATE    =   0x58,
    P24G_SM_OP_MISC_RF_MODE             =   0x59,
    P24G_SM_OP_MISC_SUSP_RET            =   0x5A,
    P24G_SM_OP_MISC_LONG_SUSP_RET       =   0x5B,
} p24g_sm_op_e;

typedef enum
{
    TPSLL_SPP_NONE                       =   0x60,
    TPSLL_SPP_LED_STATUS                 =   0x61,
    TPSLL_SPP_REPORT_RATE                =   0x62,
    TPSLL_SPP_BATT_CAP                   =   0x63,
    TPSLL_SPP_CHG_STATUS                 =   0x64,
    TPSLL_SPP_TEST_DATA                  =   0x65,
    TPSLL_SPP_ALL_KEY_DATA               =   0x66,
    TPSLL_SPP_CONSUME_KEY_DATA           =   0x67,
    TPSLL_SPP_PC_SUSPEND                 =   0x68,
} tpsll_spp_cmd_e;

typedef enum
{
    TPSLL_LL_CMD_NONE                    =   0x70,
    TPSLL_LL_CMD_TERMINATE_CONN_REQ      =   0x71,
    TPSLL_LL_CMD_TERMINATE_CONN_RSP      =   0x72,
    TPSLL_LL_CMD_8K_RR_ADAPT_REQ         =   0x73,
    TPSLL_LL_CMD_8K_RR_ADAPT_RSP         =   0x74,
    TPSLL_LL_CMD_RR_CHG_REQ              =   0x75,
    TPSLL_LL_CMD_RR_CHG_RSP              =   0x76,
    TPSLL_LL_CMD_SLOT_CHG_REQ            =   0x77,
    TPSLL_LL_CMD_SLOT_CHG_RSP            =   0x78,
    TPSLL_LL_CMD_RR_CHG_RCNN_REQ         =   0x79,
    TPSLL_LL_CMD_RR_CHG_RCNN_RSP         =   0x7A,
    TPSLL_LL_CMD_UL_DATA_SEND_REQ        =   0x7B,
    TPSLL_LL_CMD_MAX,
} tpsll_ll_cmd_e;

typedef enum
{
    TPSLL_EVT_STACK_START = 0,
    TPSLL_EVT_DEV_CONNECTED,
    TPSLL_EVT_DEV_DISCONNECTED,
    TPSLL_EVT_PAIRING_ENTER,
    TPSLL_EVT_DEV_PAIRED,
    TPSLL_EVT_REPORT_RATE_CHANGED,
    TPSLL_EVT_ENTER_SUSPEND,
    TPSLL_EVT_EXIT_SUSPEND,
    TPSLL_EVT_SPP_DATA_RECV,
    TPSLL_EVT_PAIR_TIMEOUT,
    TPSLL_EVT_RECONNECT_TIMEOUT,
    TPSLL_EVT_PM_OPTM_ENTER_LEVEL1,
    TPSLL_EVT_PM_OPTM_ENTER_LEVEL2,
    TPSLL_EVT_PM_OPTM_ENTER_LEVEL3,
    TPSLL_EVT_PM_OPTM_ENTER_LEVEL4,
    TPSLL_EVT_PM_OPTM_EXIT,
    TPSLL_EVT_NO_ACTIVE_TIMEOUT,
    TPSLL_EVT_USR_SPEC_DATA_RECV,
    TPSLL_EVT_USR_SPEC_ACK_RECV,
    TPSLL_EVT_SLEEP_ENTER_REQ,
    TPSLL_EVT_SAVE_REPORT_RATE,
    TPSLL_EVT_MAX
} tpsll_evt_t;

typedef enum
{
    REPORT_RATE_8K                      = BIT(7),
    REPORT_RATE_4K                      = BIT(0),
    REPORT_RATE_2K                      = BIT(1),
    REPORT_RATE_1K                      = BIT(2),
    REPORT_RATE_500                     = BIT(3),
    REPORT_RATE_250                     = BIT(4),
    REPORT_RATE_125                     = BIT(5),
    REPORT_RATE_NONE                     = 0,

    RR_8K_HIGH                          = 0,
    RR_8K_LOW                           = 1,
    REPORT_RATE_8K_MODE_LOW             = REPORT_RATE_500,
    REPORT_RATE_8K_MODE_HIGH            = REPORT_RATE_8K,
} report_rate_t;

typedef enum
{
    DPI_12800 = 0xFF,
    DPI_7000 = 0x8B,
    DPI_3600 = 0x48,
    DPI_1600 = 0x20,
    DPI_400 = 0x08,
} dpi_t;

typedef enum
{
    P24G_TIMEOUT_TYPE_PAIR      = 0,
    P24G_TIMEOUT_TYPE_RECONN    = 1,
    P24G_TIMEOUT_TYPE_DISCONN   = 2,
    P24G_TIMEOUT_TYPE_NOACTIVE  = 3,

}tpsll_timeout_type_e;

typedef enum
{
    MOUSE_DATA=3,
    SPP_DATA = 4,
    SPP_DATA_ACK = 5,
    NORMAL_KB_DATA_CMD = 6,
    CONSUME_KB_DATA_CMD = 7,
    SYSTEM_KB_DATA_CMD = 8,
    ALL_KB_DATA_CMD = 9,

    PAIRING_CMD = 0XA1,
    PAIRING_RSP = 0XA2,

    DEVICE_TYPE_KB = BIT(0),
    DEVICE_TYPE_MS = BIT(1),

    ERROR_DATA = 0X55,

} tpsll_stack_cmd_e;
```

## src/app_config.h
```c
/** @file app_config.h
 *  @brief
 */

/*
 * Copyright (c) 2025 Telink Semiconductor
 *
 * SPDX-License-Identifier: Apache-2.0
 */

#ifdef __cplusplus
extern "C" {
#endif
///////////////////////// BOARD TYPE SELECT ////////////////////////////////
#define HW_ALG_KEYBOARD                     1 //8*16  analog keyboard

#define HW_BOARD_TYPE                       HW_ALG_KEYBOARD

#define DBG_WITH_EVK_EN             0

#define NEW_HW_KEYBOARD_EN          1

/////////////////////////////////////////////////////////////////////////////
#if (HW_BOARD_TYPE == HW_ALG_KEYBOARD)
    #define ALLOW_SWITCH_BLE_2P4G_MODE      1
    #define ALG_KEYSCAN_APP_FUN_ENABLE      1
    #define USB_APP_FUN_ENABLE              1

    #define CAP_LED_PIN   GPIO_NONE_PIN//GPIO_PB4
    #define NUM_LED_PIN   GPIO_NONE_PIN//GPIO_PB5
    #define MODE_LED_PIN  GPIO_NONE_PIN//GPIO_PH1
    #define PAIR_LED_PIN  GPIO_NONE_PIN//GPIO_PG7

    #define APP_VBUS_CHECK_DE_JT_CNT        2
#endif

#define SPP_TEST_EN                 0

#define REPORT_RATE_TEST_EN         0

#define APP_WDT_ENABLE              0

#ifdef CONFIG_SOC_RRAM_TELINK_TLX
#define CFG_ADR_MAC_512K_RRAM           0x7F000
#define CFG_ADR_CALIBRATION_512K_RRAM   0x7E000
#endif

#ifdef __cplusplus
}
#endif
```

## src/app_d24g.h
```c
/** @file app_2p4g.h
 *  @brief
 */

/*
 * Copyright (c) 2025 Telink Semiconductor
 *
 * SPDX-License-Identifier: Apache-2.0
 */

#ifdef __cplusplus
extern "C" {
#endif

#ifndef __APP_2P4G_H__
#define __APP_2P4G_H__

#include "app_common_config.h"

#define PLL_192M_D25F_32M_HCLK_N22_32M_PCLK_32M_MSPI_48M clock_init(CLK_BASEBAND_PLL_192M, CLK_DIV6, CCLK_DIV1_TO_HCLK_DIV1_TO_PCLK, CLK_DIV4)

#define KM_SPP_MAX_LEN                                  (64)

typedef void (*p24g_sm_cmd_handler_t)(uint8_t *data, uint16_t len);

/* Generic event header */
typedef struct p24g_evt
{
    uint8_t type;
    uint8_t opcode;
    uint8_t len;
    uint8_t data[0];
} __attribute__((packed)) p24g_evt_t;


typedef struct
{
    uint16_t peer_tag;
    uint8_t paired_dev_type;
    uint8_t rr_idx;
    
    bool save_rr_flag;
    bool rr_chg_flag;
    bool report_rate_set_flag;
    uint8_t dev_status;             /* tpsll_dev_status_e */
    uint8_t report_rate;            /* report_rate_t */

    uint8_t mac[MAC_ADDR_LEN];
    uint8_t peer_mac[MAC_ADDR_LEN];
} app_ctx_t;

extern app_ctx_t app_ctx;

typedef struct
{
    bool is_stk_busy;
} app_dual_core_flag_ctx_t;

extern app_dual_core_flag_ctx_t app_dual_core_flag_ctx;

typedef enum
{
    CLOCK_CONFIG_1V1_192_192  = 0,
    CLOCK_CONFIG_1V_192_32,
} app_clock_config_e;


/**
 * @brief   Register a shared memory (SM) command handler for the 2.4GHz protocol
 *
 * This function registers a handler function for a specified SM command in the
 * 2.4GHz protocol stack. When the given command is received through the SM
 * (shared memory) communication channel, the registered handler will be invoked
 * with the associated data buffer.
 *
 * @param[in] cmd       Command identifier of type @ref p24g_sm_cmd_e
 * @param[in] handler   Callback function pointer of type @ref p24g_sm_cmd_handler_t
 *
 * @return   0: success
 *           Other: fail
 *
 * @note     If a handler for the same command is already registered, it will
 *           be overwritten by the new handler.
 */
uint8_t p24g_register_sm_cmd_handler(p24g_sm_cmd_e cmd, p24g_sm_cmd_handler_t handler);


/**
 * @brief     Shared memory (SM) receive callback for 2.4GHz D25F core
 *
 * This callback function is invoked when the shared memory (SM) interface
 * receives data from another MCU core in an dual-core system. It is
 * part of the inter-core communication mechanism used by the 2.4GHz protocol
 * stack running on the d25f core.
 *
 * @param[in] data  Pointer to the received data buffer
 * @param[in] len   Length of the received data in bytes
 *
 * @note      The buffer pointed by @p data is only valid during the callback
 *            execution. If the data needs to be stored for later processing,
 *            it must be copied to a safe memory area before the callback returns.
 *
 * @return    None
 */
void app_2p4g_d25f_sm_rx_cb(uint8_t *data, uint16_t len);


/**
 * @brief     Send a shared memory (SM) message in the 2.4GHz protocol
 *
 * This function sends a message to the 2.4GHz protocol layer through the
 * shared memory (SM) interface. The SM interface is used for inter-core
 * communication in dual-core systems, enabling fast and low-latency data
 * exchange between the application processor d25f and the RF protocol core n22.
 *
 * @param[in] type  Message type identifier
 * @param[in] op    Message operation code
 * @param[in] data  Pointer to the message data buffer
 * @param[in] len   Length of the message data in bytes
 * 
 * @return    0 if sending is successful, non-zero error code if failed
 *
 * @note      The buffer pointed by @p data must remain valid until the message
 *            is fully copied or processed by the receiving core.
 *
 */
uint8_t p24g_send_sm_msg(uint8_t type, uint8_t op,  uint8_t *data, uint8_t len);



/**
 * @brief     Initialize 2.4GHz application module
 *
 * This function performs initialization of the 2.4GHz application layer,
 * including RF configuration, state variables setup, and registration
 * of necessary callbacks. It should be called once during system startup
 * before any 2.4GHz communication begins.
 *
 * @param[in]  None
 *
 * @return     None
 *
 * @note       Must be called before entering the 2.4GHz main loop or
 *             handling any RF-related events.
 */
void app_2p4g_init(void);



/**
 * @brief     2.4GHz main loop
 *
 * This function runs the main execution loop of the 2.4GHz protocol.
 * It handles packet transmission, reception, and state transitions.
 * The function should be called repeatedly in the system main loop
 * to maintain RF communication and process queued events.
 *
 * @param[in]  None
 *
 * @return     None
 *
 * @note       This function is non-blocking and should be invoked
 *             periodically within the main system loop.
 */
void app_2p4g_main_loop(void);

/**
 * @brief     2.4GHz mailbox callback for keyboard/mouse data
 *
 * This function is invoked when keyboard or mouse data is received
 * through the 2.4GHz mailbox channel. The received data is provided
 * through the input buffer for further processing or forwarding to
 * higher layers.
 *
 * @param[in]  data   Pointer to the received data buffer
 *
 * @return     None
 *
 * @note       This function should be registered as the mailbox callback
 *             for keyboard/mouse data reception in the 2.4GHz stack.
 */
void app_2p4g_mb_km_data_cb(uint8_t* data);

/**
 * @brief     2.4G low-power (suspend) info: defined by D25F, written by N22,
 *            read by D25F.
 *
 * D25F passes the address of g_p24g_pm_info to N22 via mailbox
 * (TLK_MB_D25F_TO_N22_2P4G_PM_INFO_ADDRESS); N22 writes it directly and
 * tl_app_suspend() reads it as needed. Single writer / single reader,
 * lock-free.
 *
 * @note next_wakeup_tick is valid only when suspend_allowed == true.
 *       Write order: N22 must write next_wakeup_tick before suspend_allowed.
 */
typedef struct {
    bool     suspend_allowed;   /* whether D25F may enter suspend */
    uint32_t next_wakeup_tick;  /* absolute stimer tick N22 must wake at */
} p24g_pm_info_t;

extern volatile p24g_pm_info_t g_p24g_pm_info;


/**
 * @brief     Get the current 2.4GHz device state
 *
 * This function returns the current operating state of the 2.4GHz device,
 * which indicates the RF or connection status such as idle, connected,
 * or disconnected.
 *
 * @return    Current device state of type @ref tpsll_dev_status_e
 *
 * @note      Typically used to check the current communication or RF state
 *            in higher-level application logic.
 */
static inline tpsll_dev_status_e app_d24p_get_state(void)
{
    return app_ctx.dev_status;
}

/**
 * @brief     Get the current 2.4GHz report rate
 *
 * This function returns the current report rate of the 2.4GHz device,
 * which is updated by the protocol stack on connect / disconnect / report
 * rate change events.
 *
 * @return    Current report rate of type @ref report_rate_t
 */
static inline uint8_t app_d24p_get_report_rate(void)
{
    return app_ctx.report_rate;
}

uint8_t p24g_enable_pairing(bool enable);

uint8_t p24g_send_spp_data(uint8_t cmd, unsigned char *data, unsigned char len);

uint8_t p24g_change_report_rate(report_rate_t report_rate);

void tlk_d25f_to_n22_mode_info(kb_mode_t mode_flag);

void p24g_user_init_normal(void);

#endif // __APP_2P4G_H__

#ifdef __cplusplus
}
#endif
```

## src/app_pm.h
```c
/** @file app_pm.h
 *  @brief Power management (sleep/suspend) functions for USB and 2.4G modes.
 */

/*
 * Copyright (c) 2025 Telink Semiconductor
 *
 * SPDX-License-Identifier: Apache-2.0
 */

#ifdef __cplusplus
extern "C" {
#endif

#ifndef __APP_PM_H__
#define __APP_PM_H__

#include <zephyr/types.h>
#include <stdbool.h>

/* ------------------------------------------------------------------ */
/* 2.4G suspend / sleep                                               */
/* ------------------------------------------------------------------ */

/**
 * @brief Check whether 2.4G suspend is allowed by N22.
 *
 * @return true if D25F may enter suspend, false otherwise
 */
bool tl_app_suspend_state(void);

/**
 * @brief Check whether N22 delivered a not-yet-consumed wakeup tick.
 *
 * @return true - fresh tick, main may sleep once into idle;
 *         false - no new tick, keep running main_loop
 */
bool app_p24g_wakeup_tick_is_fresh(void);

/**
 * @brief Mark the current wakeup tick as consumed.
 */
void app_p24g_wakeup_tick_consume(void);

/**
 * @brief Sleep until the N22 wakeup tick delivered this period.
 *
 * Converts next_wakeup_tick into a relative k_sleep duration so main's
 * blocked window matches the N22 window. Actual suspend wake precision is
 * guaranteed by tl_app_suspend()'s min(kernel wake, N22 tick).
 *
 * @return true - k_sleep executed; false - no fresh tick or window exhausted
 */
bool app_p24g_sleep_until_n22_tick(void);

/**
 * @brief 2.4G suspend hook overriding the HAL weak symbol tl_app_suspend().
 *
 * HAL contract: only called after tl_app_suspend_state() returns true;
 * only dynamic time validity is checked here.
 *
 * @param[in] wake_stimer_tick - kernel-calculated next wake stimer tick
 * @return    true if suspend entered, otherwise false
 */
bool tl_app_suspend(uint32_t wake_stimer_tick);

/**
 * @brief USB mode main-thread sleep tick.
 *
 * USB mode does not involve the N22 core: key scan / report TX are
 * SOF-interrupt driven. The 3ms tick only yields the CPU so idle
 * enters WFI.
 */
void app_usb_sleep(void);

#endif /* __APP_PM_H__ */

#ifdef __cplusplus
}
#endif
```
